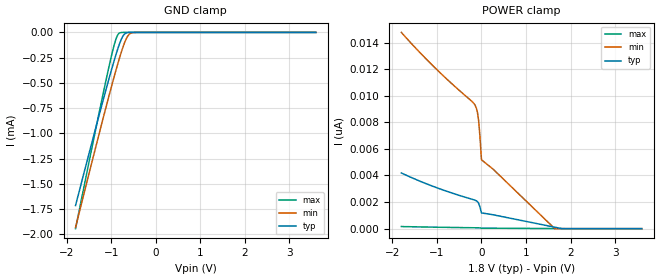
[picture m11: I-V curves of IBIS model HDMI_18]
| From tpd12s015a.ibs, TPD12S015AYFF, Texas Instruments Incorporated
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[Model]   HDMI_18
Model_type   Input
Vinl = 0.4V
Vinh = 1.0V
|   typ   min   max
C_comp   0.2533pF   0.2533pF   0.2533pF
[Voltage Range]   1.800V   1.650V   1.950V
|Junction temperature
[Temperature Range]   40.0   100.0   -40.0
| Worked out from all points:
|   GND clamp passes 1 mA (typ) near -1.38 V on its own axis
|ambient temperature   25   85   -40| |
[GND Clamp]
|   Voltage   I(typ)   I(min)   I(max)
-1.8V     -1.715mA   -1.932mA   -1.944mA
-1.339V   -933.5uA   -1.123mA   -942.1uA
-1.067V   -488.5uA   -659.6uA   -376.4uA
-985.9mV  -360.5uA   -525uA     -219.4uA
-904.5mV  -238.1uA   -394uA     -83.05uA
-850.3mV  -162uA     -309.8uA   -23uA
-823.1mV  -126.7uA   -269uA     -8.815uA
-741.7mV  -40.74uA   -154.7uA   -281.6nA
-660.3mV  -5.031uA   -62.52uA   -5.732nA
-578.9mV  -379.2nA   -12.99uA   -117pA
-497.5mV  -21.89nA   -1.594uA   -7.044pA
3.6V      0A         0A         0A
[POWER Clamp]
|   Voltage   I(typ)   I(min)   I(max)
-1.8V     4.19nA     14.76nA    158.5pA
-1.094V   3.191nA    12.26nA    113.6pA
-144.7mV  2.139nA    9.291nA    66.31pA
-117.6mV  2.098nA    9.093nA    65.01pA
-90.45mV  2.032nA    8.749nA    63.4pA
-63.32mV  1.904nA    8.117nA    60.62pA
-36.18mV  1.652nA    7.005nA    54.18pA
0V        1.184nA    5.177nA    38.65pA
262.3mV   1.044nA    4.471nA    34.55pA
1.646V    109.9pA    0A         6.13pA
1.809V    0A         0A         2.786pA
3.6V      0A         0A         0A
